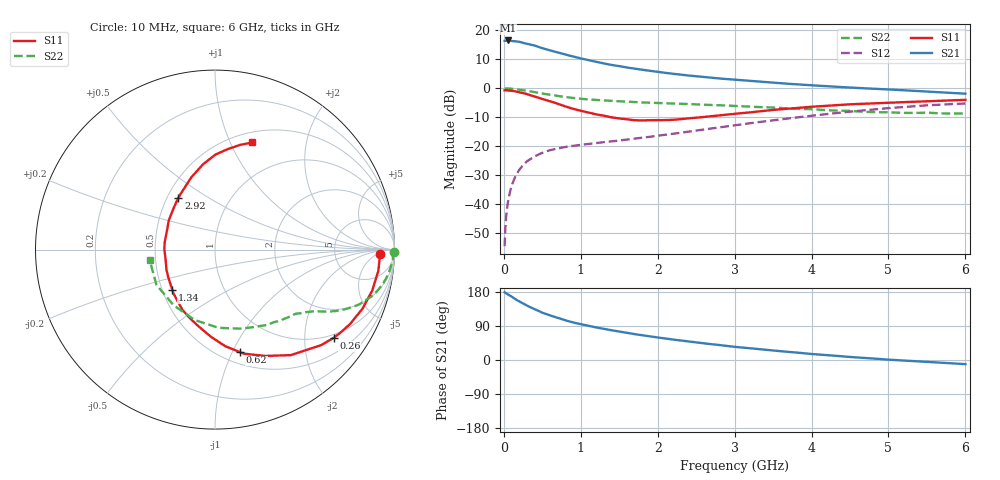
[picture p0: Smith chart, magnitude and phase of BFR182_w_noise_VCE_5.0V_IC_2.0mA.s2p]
! Infineon Technologies  Discrete & RF Semiconductors
! BFR182
! VCE =  5.0 V,  IC =  2.0 mA
! Common Emitter S-Parameters:  Nov 2015
# GHz  S  MA  R  50
!  f  S11  S21  S12  S22
! GHz  MAG  ANG  MAG  ANG  MAG  ANG  MAG  ANG
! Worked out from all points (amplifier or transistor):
!   210 points, 10 MHz to 6 GHz, reference 50 ohm
!   highest |S21| = 16.5 dB at 50 MHz (marker M1)
!   |S21| within 3 dB of that: start of sweep to 543.7 MHz
!   unconditionally stable (mu >= 1): 1.511 GHz to 3.126 GHz
!   at 185 MHz: K = 0.18, MSG = 22.4 dB, |S12| = -28.8 dB
!   at 1.52 GHz: K = 1.00, MAG = 12.4 dB, |S12| = -17.9 dB
!   at 6 GHz: K = 0.89, MSG = 1.7 dB, |S12| = -5.2 dB
!   lowest NFmin = 1.10 dB at 450 MHz
!   S11 on the Smith chart (normalised r, x): 10 MHz: 22, -7; 260 MHz: 0.90, -2.75; 620 MHz: 0.61, -1.07; 1.34 GHz: 0.56, -0.28; 2.92 GHz: 0.57, +0.38; 6 GHz: 0.61, +1.21
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0.01  0.9208 -1.4  6.562 178.9  0.0019 89.1  0.9965 -0.7
0.025  0.9184 -3.6  6.586 176.6  0.005 86.2  0.9908 -1.6
0.05  0.9177 -7.4  6.675 173.6  0.0102 85.7  0.993 -3.2
0.095  0.9062 -13.8  6.549 168.2  0.0195 81.3  0.9835 -6.0
0.155  0.8822 -22.5  6.445 159.8  0.0311 76.9  0.9666 -9.7
0.2  0.8595 -28.8  6.339 154.7  0.0392 73.6  0.9498 -12.2
0.26  0.8236 -36.7  6.012 147.9  0.0488 69.3  0.9258 -15.1
0.3  0.7961 -41.9  5.847 143.4  0.055 67.1  0.9074 -16.9
0.4  0.724 -54.3  5.463 134.0  0.0669 61.1  0.8582 -20.9
0.5  0.6553 -64.7  4.915 124.8  0.0773 57.2  0.8108 -23.8
0.62  0.5881 -76.3  4.429 116.4  0.087 53.5  0.7664 -26.3
0.8  0.486 -92.7  3.819 104.7  0.0974 50.2  0.7078 -29.2
0.9  0.4428 -100.9  3.532 99.1  0.1019 49.4  0.68 -30.4
1.02  0.4033 -111.1  3.229 93.7  0.1066 48.7  0.656 -31.6
1.34  0.3275 -136.5  2.617 80.7  0.1194 49.0  0.6133 -34.7
1.7  0.2819 -166.4  2.186 68.2  0.135 52.0  0.5759 -38.3
2.02  0.2828 171.0  1.898 58.9  0.1532 53.8  0.5584 -42.2
2.92  0.3529 125.2  1.433 36.7  0.2222 56.1  0.503 -57.1
3.1  0.3731 119.1  1.37 32.9  0.2398 55.5  0.4892 -61.0
4.1  0.4894 96.1  1.106 14.4  0.3478 48.7  0.4273 -90.8
5.1  0.5702 81.6  0.94 -0.2  0.4651 36.2  0.3807 -131.1
6  0.6321 70.8  0.807 -10.9  0.5483 21.9  0.3688 -170.9
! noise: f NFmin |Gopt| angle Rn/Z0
0.45  1.1  0.42  29  0.36
0.9  1.2  0.4  58  0.3
1.8  1.85  0.32  126  0.22
